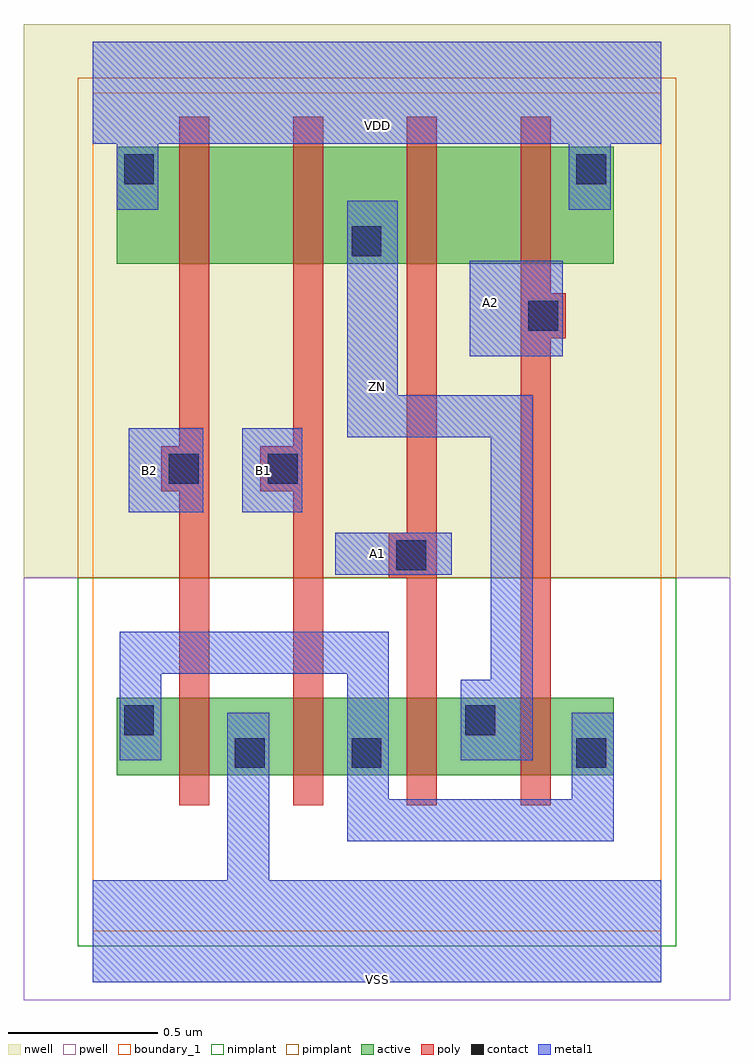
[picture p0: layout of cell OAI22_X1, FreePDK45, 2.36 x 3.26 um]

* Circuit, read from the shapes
.subckt OAI22_X1 A1 A2 B1 B2 VDD VSS ZN
M1 VSS B2 n1 VSUBS nfet w=0.26u l=0.1u
M2 n1 B1 VSS VSUBS nfet w=0.26u l=0.1u
M3 ZN A1 n1 VSUBS nfet w=0.26u l=0.1u
M4 n1 A2 ZN VSUBS nfet w=0.26u l=0.1u
M5 n2 B2 VDD n3 pfet w=0.39u l=0.1u
M6 ZN B1 n2 n3 pfet w=0.39u l=0.1u
M7 n4 A1 ZN n3 pfet w=0.39u l=0.1u
M8 VDD A2 n4 n3 pfet w=0.39u l=0.1u
.ends

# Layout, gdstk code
import gdstk
lib = gdstk.Library(unit=1e-6, precision=1e-09)
def R(c, l, rs):  # rectangles x0, y0, x1, y1
    for r in rs: c.add(gdstk.rectangle(r[:2], r[2:], *l))
def P(c, l, *ps):  # polygons
    for p in ps: c.add(gdstk.Polygon(p, *l))
active = (1, 0)
pwell = (2, 0)
nwell = (3, 0)
nimplant = (4, 0)
pimplant = (5, 0)
poly = (9, 0)
contact = (10, 0)
metal1 = (11, 0)
boundary_1 = (235, 1)

oai22_x1 = lib.new_cell('OAI22_X1')
R(oai22_x1, active, [(0.08,0.52,1.74,0.78), (0.08,2.23,1.74,2.62)])
R(oai22_x1, pwell, [(-0.23,-0.23,2.13,1.18)])
R(oai22_x1, nwell, [(-0.23,1.18,2.13,3.03)])
R(oai22_x1, nimplant, [(-0.05,-0.05,1.95,1.18)])
R(oai22_x1, pimplant, [(-0.05,1.18,1.95,2.85)])
P(oai22_x1, poly, [(1.43,0.42),(1.53,0.42),(1.53,1.98),(1.58,1.98),(1.58,2.13),(1.53,2.13),(1.53,2.72),(1.43,2.72)],
  [(0.99,1.18),(1.05,1.18),(1.05,0.42),(1.15,0.42),(1.15,2.72),(1.05,2.72),(1.05,1.33),(0.99,1.33)],
  [(0.56,1.47),(0.67,1.47),(0.67,0.42),(0.77,0.42),(0.77,2.72),(0.67,2.72),(0.67,1.62),(0.56,1.62)],
  [(0.23,1.47),(0.29,1.47),(0.29,0.42),(0.39,0.42),(0.39,2.72),(0.29,2.72),(0.29,1.62),(0.23,1.62)])
R(oai22_x1, contact, [(0.475,0.545,0.575,0.645), (0.865,0.545,0.965,0.645), (1.615,0.545,1.715,0.645), (0.105,0.655,0.205,0.755), (1.245,0.655,1.345,0.755), (1.015,1.205,1.115,1.305), (0.255,1.495,0.355,1.595), (0.585,1.495,0.685,1.595), (1.455,2.005,1.555,2.105), (0.865,2.255,0.965,2.355), (0.105,2.495,0.205,2.595), (1.615,2.495,1.715,2.595)])
R(oai22_x1, metal1, [(0.81,1.19,1.2,1.33), (0.81,1.19,1.2,1.33), (0.12,1.4,0.37,1.68), (0.12,1.4,0.37,1.68), (0.5,1.4,0.7,1.68), (0.5,1.4,0.7,1.68), (1.26,1.92,1.57,2.24), (1.26,1.92,1.57,2.24)])
P(oai22_x1, metal1, [(0.85,1.65),(1.33,1.65),(1.33,0.84),(1.23,0.84),(1.23,0.57),(1.47,0.57),(1.47,1.79),(1.02,1.79),(1.02,2.44),(0.85,2.44)],
  [(0,-0.17),(1.9,-0.17),(1.9,0.17),(0.59,0.17),(0.59,0.73),(0.45,0.73),(0.45,0.17),(0,0.17)],
  [(0,2.63),(0.08,2.63),(0.08,2.41),(0.22,2.41),(0.22,2.63),(1.59,2.63),(1.59,2.41),(1.73,2.41),(1.73,2.63),(1.9,2.63),(1.9,2.97),(0,2.97)],
  [(0,2.63),(0.08,2.63),(0.08,2.41),(0.22,2.41),(0.22,2.63),(1.59,2.63),(1.59,2.41),(1.73,2.41),(1.73,2.63),(1.9,2.63),(1.9,2.97),(0,2.97)],
  [(0,-0.17),(1.9,-0.17),(1.9,0.17),(0.59,0.17),(0.59,0.73),(0.45,0.73),(0.45,0.17),(0,0.17)],
  [(0.09,0.57),(0.23,0.57),(0.23,0.86),(0.85,0.86),(0.85,0.3),(1.74,0.3),(1.74,0.73),(1.6,0.73),(1.6,0.44),(0.99,0.44),(0.99,1),(0.09,1)],
  [(0.85,1.65),(1.33,1.65),(1.33,0.84),(1.23,0.84),(1.23,0.57),(1.47,0.57),(1.47,1.79),(1.02,1.79),(1.02,2.44),(0.85,2.44)])
R(oai22_x1, boundary_1, [(0,0,1.9,2.8)])
oai22_x1.add(gdstk.Label('ZN', (0.95,1.82), layer=11, texttype=0))
oai22_x1.add(gdstk.Label('VSS', (0.95,-0.16), layer=11, texttype=0))
oai22_x1.add(gdstk.Label('VDD', (0.95,2.69), layer=11, texttype=0))
oai22_x1.add(gdstk.Label('B2', (0.19,1.54), layer=11, texttype=0))
oai22_x1.add(gdstk.Label('B1', (0.57,1.54), layer=11, texttype=0))
oai22_x1.add(gdstk.Label('A2', (1.33,2.1), layer=11, texttype=0))
oai22_x1.add(gdstk.Label('A1', (0.95,1.26), layer=11, texttype=0))

lib.write_gds('OAI22_X1.gds')
